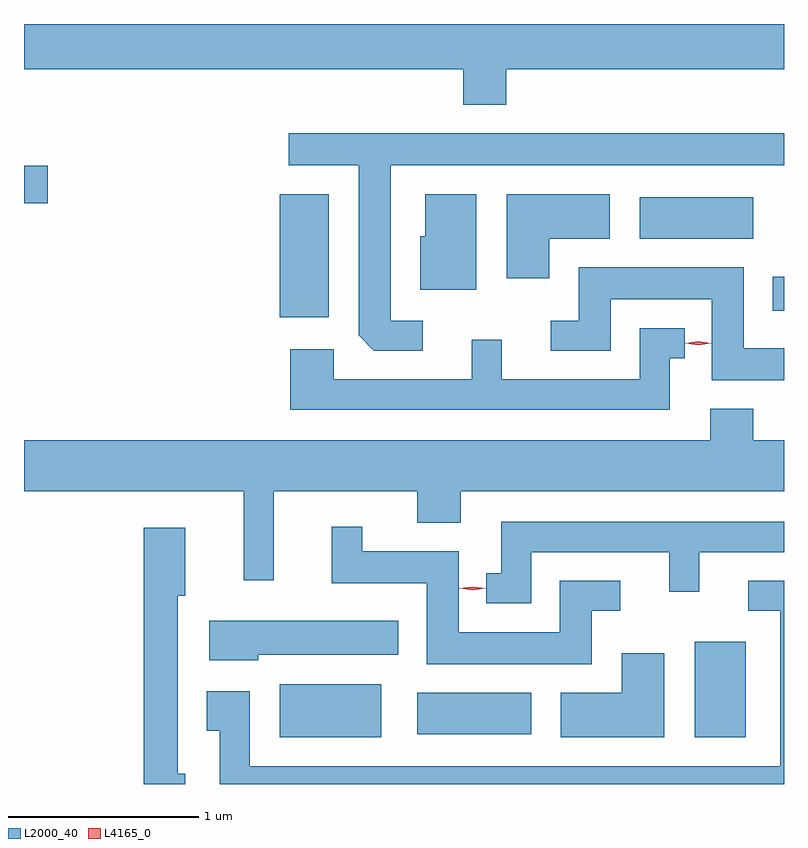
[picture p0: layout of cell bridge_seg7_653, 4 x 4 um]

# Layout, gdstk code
import gdstk
lib = gdstk.Library(unit=1e-6, precision=1e-09)
def R(c, l, rs):  # rectangles x0, y0, x1, y1
    for r in rs: c.add(gdstk.rectangle(r[:2], r[2:], *l))
def P(c, l, *ps):  # polygons
    for p in ps: c.add(gdstk.Polygon(p, *l))
L2000_40 = (2000, 40)
L4165_0 = (4165, 0)

bridge_seg7_653 = lib.new_cell('bridge_seg7_653')
R(bridge_seg7_653, L2000_40, [(828.726,1721.901,829.259,1722.179), (830.911,1721.901,831.179,1722.404), (829.451,1721.916,830.049,1722.134), (828.726,1724.111,828.984,1724.759), (831.321,1724.146,831.38,1724.324), (830.621,1724.526,831.219,1724.744), (827.38,1724.711,827.504,1724.909)])
P(bridge_seg7_653, L2000_40, [(829.919,1725.416),(831.38,1725.416),(831.38,1725.655),(827.38,1725.655),(827.38,1725.416),(829.691,1725.416),(829.691,1725.231),(829.919,1725.231)],
  [(829.478,1724.094),(829.309,1724.094),(829.309,1724.911),(831.38,1724.911),(831.38,1725.079),(828.773,1725.079),(828.773,1724.911),(829.141,1724.911),(829.141,1724.017),(829.222,1723.936),(829.478,1723.936)],
  [(829.759,1724.759),(829.491,1724.759),(829.491,1724.539),(829.466,1724.539),(829.466,1724.256),(829.759,1724.256)],
  [(830.144,1724.526),(830.464,1724.526),(830.464,1724.759),(829.921,1724.759),(829.921,1724.316),(830.144,1724.316)],
  [(831.38,1723.949),(831.169,1723.949),(831.169,1724.374),(830.301,1724.374),(830.301,1724.094),(830.153,1724.094),(830.153,1723.936),(830.469,1723.936),(830.469,1724.206),(831.001,1724.206),(831.001,1723.781),(831.38,1723.781)],
  [(830.779,1723.896),(830.858,1723.896),(830.858,1724.054),(830.621,1724.054),(830.621,1723.784),(829.894,1723.784),(829.894,1723.993),(829.736,1723.993),(829.736,1723.784),(829.009,1723.784),(829.009,1723.944),(828.781,1723.944),(828.781,1723.626),(830.779,1723.626)],
  [(828.694,1723.196),(829.451,1723.196),(829.451,1723.031),(829.679,1723.031),(829.679,1723.196),(831.38,1723.196),(831.38,1723.464),(831.219,1723.464),(831.219,1723.629),(830.991,1723.629),(830.991,1723.464),(827.38,1723.464),(827.38,1723.196),(828.536,1723.196),(828.536,1722.728),(828.694,1722.728)],
  [(830.049,1722.876),(830.776,1722.876),(830.776,1722.668),(830.934,1722.668),(830.934,1722.876),(831.38,1722.876),(831.38,1723.034),(829.891,1723.034),(829.891,1722.764),(829.813,1722.764),(829.813,1722.606),(830.049,1722.606)],
  [(830.369,1722.566),(830.518,1722.566),(830.518,1722.724),(830.201,1722.724),(830.201,1722.454),(829.669,1722.454),(829.669,1722.879),(829.159,1722.879),(829.159,1723.008),(829.001,1723.008),(829.001,1722.711),(829.501,1722.711),(829.501,1722.286),(830.369,1722.286)],
  [(828.229,1721.709),(828.189,1721.709),(828.189,1722.646),(828.229,1722.646),(828.229,1723.004),(828.011,1723.004),(828.011,1721.655),(828.229,1721.655)],
  [(831.38,1722.724),(831.193,1722.724),(831.193,1722.566),(831.361,1722.566),(831.361,1721.749),(828.569,1721.749),(828.569,1722.144),(828.341,1722.144),(828.341,1721.936),(828.411,1721.936),(828.411,1721.655),(831.38,1721.655)],
  [(828.614,1722.336),(829.349,1722.336),(829.349,1722.514),(828.356,1722.514),(828.356,1722.306),(828.614,1722.306)],
  [(830.749,1722.344),(830.526,1722.344),(830.526,1722.134),(830.206,1722.134),(830.206,1721.901),(830.749,1721.901)])
P(bridge_seg7_653, L4165_0, [(829.741,1722.674),(829.672,1722.684),(829.672,1722.684),(829.672,1722.684),(829.741,1722.694),(829.811,1722.685),(829.811,1722.685),(829.811,1722.684)],
  [(830.928,1723.965),(830.859,1723.974),(830.859,1723.975),(830.859,1723.975),(830.928,1723.985),(830.998,1723.976),(830.998,1723.976),(830.998,1723.975)])

lib.write_gds('bridge_seg7_653.gds')
